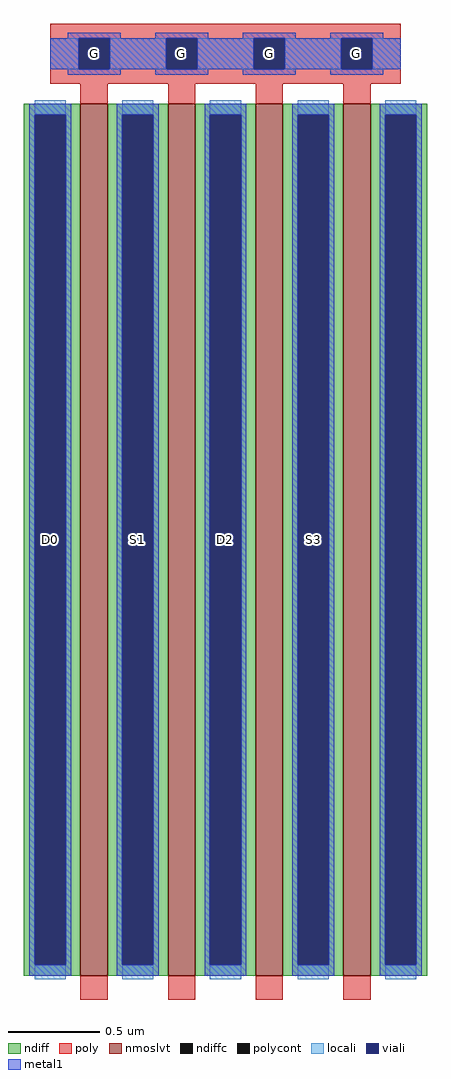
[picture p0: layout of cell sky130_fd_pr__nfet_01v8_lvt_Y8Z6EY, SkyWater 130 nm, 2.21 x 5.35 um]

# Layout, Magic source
magic
tech sky130A
magscale 1 2
<< nmoslvt >>
rect -159 -509 -129 447
rect -63 -509 -33 447
rect 33 -509 63 447
rect 129 -509 159 447
<< ndiff >>
rect -221 435 -159 447
rect -221 -497 -209 435
rect -175 -497 -159 435
rect -221 -509 -159 -497
rect -129 435 -63 447
rect -129 -497 -113 435
rect -79 -497 -63 435
rect -129 -509 -63 -497
rect -33 435 33 447
rect -33 -497 -17 435
rect 17 -497 33 435
rect -33 -509 33 -497
rect 63 435 129 447
rect 63 -497 79 435
rect 113 -497 129 435
rect 63 -509 129 -497
rect 159 435 221 447
rect 159 -497 175 435
rect 209 -497 221 435
rect 159 -509 221 -497
<< ndiffc >>
rect -209 -497 -175 435
rect -113 -497 -79 435
rect -17 -497 17 435
rect 79 -497 113 435
rect 175 -497 209 435
<< poly >>
rect -192 519 192 535
rect -192 485 -161 519
rect -127 485 -65 519
rect -31 485 31 519
rect 65 485 127 519
rect 161 485 192 519
rect -192 469 192 485
rect -159 447 -129 469
rect -63 447 -33 469
rect 33 447 63 469
rect 129 447 159 469
rect -159 -535 -129 -509
rect -63 -535 -33 -509
rect 33 -535 63 -509
rect 129 -535 159 -509
<< polycont >>
rect -161 485 -127 519
rect -65 485 -31 519
rect 31 485 65 519
rect 127 485 161 519
<< locali >>
rect -192 485 -161 519
rect -127 485 -65 519
rect -31 485 31 519
rect 65 485 127 519
rect 161 485 192 519
rect -209 435 -175 451
rect -209 -513 -175 -497
rect -113 435 -79 451
rect -113 -513 -79 -497
rect -17 435 17 451
rect -17 -513 17 -497
rect 79 435 113 451
rect 79 -513 113 -497
rect 175 435 209 451
rect 175 -513 209 -497
<< viali >>
rect -161 485 -127 519
rect -65 485 -31 519
rect 31 485 65 519
rect 127 485 161 519
rect -209 -497 -175 435
rect -113 -497 -79 435
rect -17 -497 17 435
rect 79 -497 113 435
rect 175 -497 209 435
<< metal1 >>
rect -173 519 -115 525
rect -77 519 -19 525
rect 19 519 77 525
rect 115 519 173 525
rect -192 485 -161 519
rect -127 485 -65 519
rect -31 485 31 519
rect 65 485 127 519
rect 161 485 192 519
rect -173 479 -115 485
rect -77 479 -19 485
rect 19 479 77 485
rect 115 479 173 485
rect -215 435 -169 447
rect -215 -497 -209 435
rect -175 -497 -169 435
rect -215 -509 -169 -497
rect -119 435 -73 447
rect -119 -497 -113 435
rect -79 -497 -73 435
rect -119 -509 -73 -497
rect -23 435 23 447
rect -23 -497 -17 435
rect 17 -497 23 435
rect -23 -509 23 -497
rect 73 435 119 447
rect 73 -497 79 435
rect 113 -497 119 435
rect 73 -509 119 -497
rect 169 435 215 447
rect 169 -497 175 435
rect 209 -497 215 435
rect 169 -509 215 -497
<< labels >>
rlabel ndiffc -192 -31 -192 -31 0 D0
port 1 nsew
rlabel polycont -144 502 -144 502 0 G
port 2 nsew
rlabel ndiffc -96 -31 -96 -31 0 S1
port 3 nsew
rlabel polycont -48 502 -48 502 0 G
port 2 nsew
rlabel ndiffc 0 -31 0 -31 0 D2
port 4 nsew
rlabel polycont 48 502 48 502 0 G
port 2 nsew
rlabel ndiffc 96 -31 96 -31 0 S3
port 5 nsew
rlabel polycont 144 502 144 502 0 G
port 2 nsew
<< properties >>
string gencell sky130_fd_pr__nfet_01v8_lvt
string library sky130
string parameters w 4.775 l 0.150 m 1 nf 4 diffcov 100 polycov 100 guard 0 glc 1 grc 1 gtc 1 gbc 1 tbcov 100 rlcov 100 topc 1 botc 0 poverlap 0 doverlap 1 lmin 0.15 wmin 0.42 class mosfet compatible {sky130_fd_pr__nfet_01v8 sky130_fd_pr__nfet_01v8_lvt  sky130_fd_bs_flash__special_sonosfet_star  sky130_fd_pr__nfet_g5v0d10v5 sky130_fd_pr__nfet_05v0_nvt  sky130_fd_pr__nfet_03v3_nvt} full_metal 0 conn_gates 1 viasrc 100 viadrn 100 viagate 100 viagb 0 viagr 0 viagl 0 viagt 0 doports 1
<< end >>
